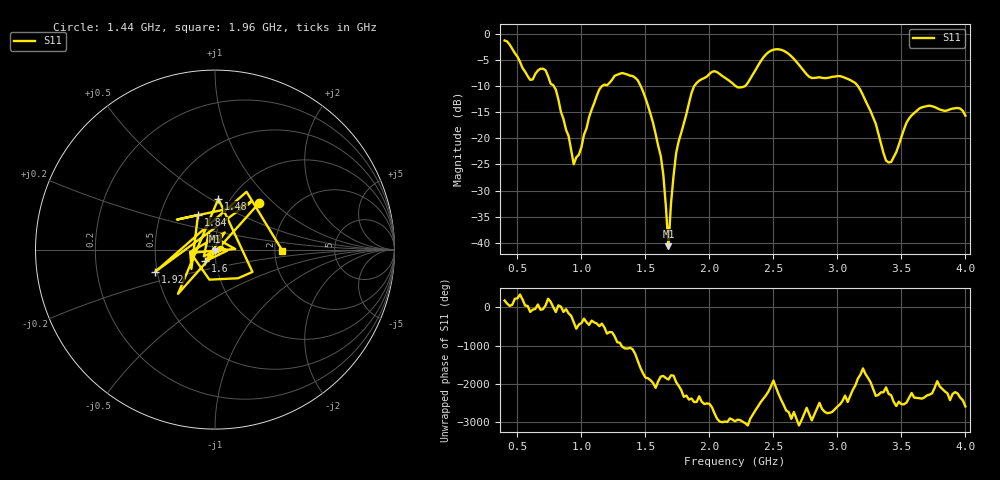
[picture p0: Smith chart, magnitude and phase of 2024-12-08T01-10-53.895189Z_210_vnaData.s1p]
!Created with skrf (http://scikit-rf.org).
# Hz S RI R 50.0
!freq ReS11 ImS11
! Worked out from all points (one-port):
!   181 points, 400 MHz to 4 GHz, reference 50 ohm
!   lowest |S11| = -40.6 dB at 1.68 GHz (marker M1), VSWR 1.02, Z = 50.1 - j0.928 ohm
!   |S11| at or under -10 dB: 783.5 MHz to 1.163 GHz (379.2 MHz wide, 39 % of centre); 1.462 GHz to 1.882 GHz (420 MHz wide, 25.1 % of centre); 3.159 GHz to end of sweep (the widest 3 of 4)
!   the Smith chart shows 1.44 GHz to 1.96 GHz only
!   S11 on the Smith chart (normalised r, x): 1.44 GHz: 1.37, +0.82; 1.48 GHz: 0.88, +0.54; 1.6 GHz: 0.89, -0.12; 1.84 GHz: 0.77, +0.31; 1.92 GHz: 0.49, -0.14; 1.96 GHz: 2.20, -0.04
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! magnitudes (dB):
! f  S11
! 400 MHz  -1.3
! 600 MHz  -8.8
! 720 MHz  -7.0
! 860 MHz  -16.3
! 940 MHz  -25.0
! 1.14 GHz  -10.7
! 1.3 GHz  -7.7
! 1.44 GHz  -8.9
! 1.48 GHz  -11.0
! 1.6 GHz  -21.5
! 1.64 GHz  -27.0
! 1.68 GHz  -40.6
! 1.72 GHz  -27.2
! 1.76 GHz  -20.6
! 1.84 GHz  -13.3
! 1.92 GHz  -9.0
! 1.96 GHz  -8.5
! 2.2 GHz  -10.0
! 2.28 GHz  -10.0
! 2.48 GHz  -3.3
! 2.66 GHz  -4.8
! 2.8 GHz  -8.5
! 3.1 GHz  -8.9
! 3.26 GHz  -14.9
! 3.4 GHz  -24.6
! 3.56 GHz  -16.2
! 3.72 GHz  -13.8
! 4 GHz  -15.7
